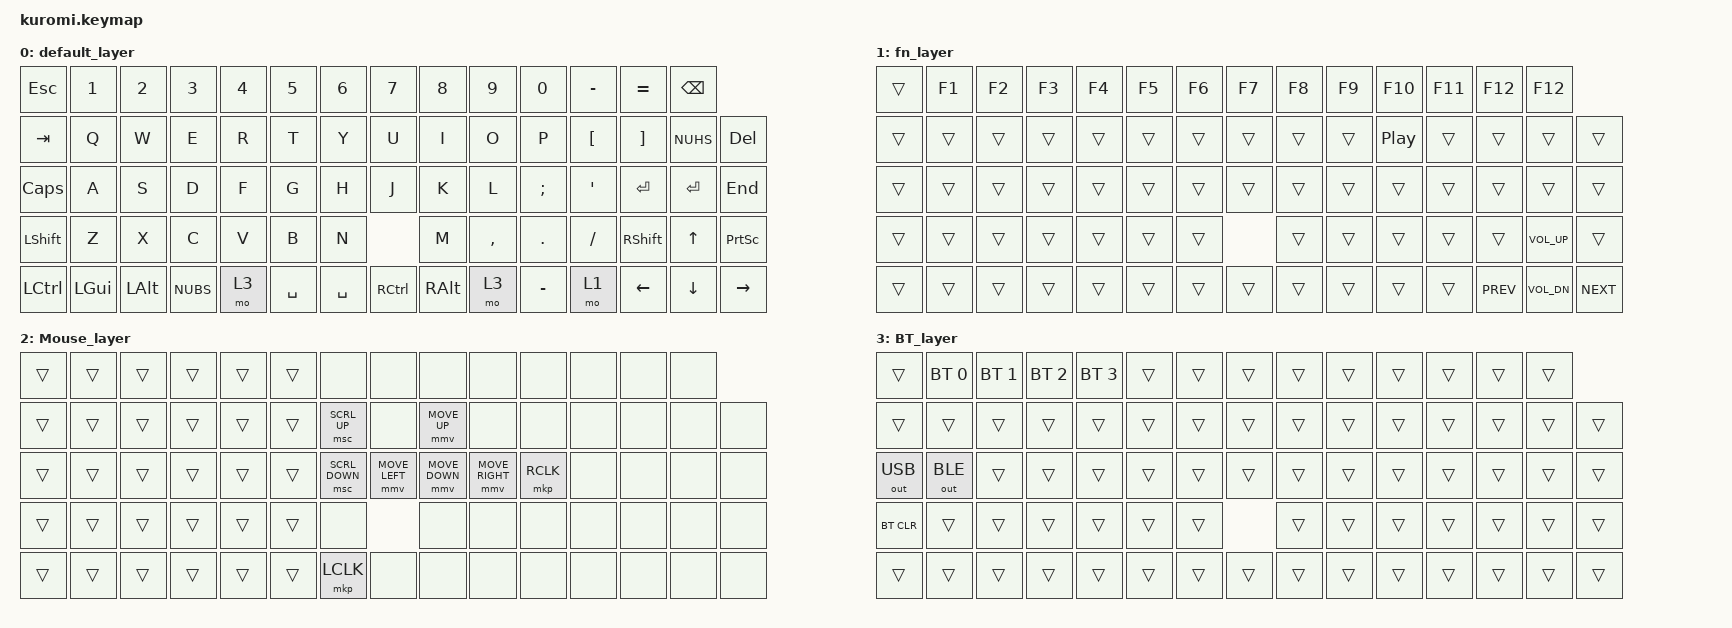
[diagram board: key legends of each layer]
/*
 * Copyright (c) 2022 The ZMK Contributors
 *
 * SPDX-License-Identifier: MIT
 */

#include <behaviors.dtsi>
#include <dt-bindings/zmk/keys.h>
#include <dt-bindings/zmk/bt.h>
#include <dt-bindings/zmk/outputs.h>
#include <dt-bindings/zmk/pointing.h>

/ {
    keymap {
        compatible = "zmk,keymap";

        default_layer {
            bindings = <
                &kp ESC     &kp N1      &kp N2      &kp N3      &kp N4      &kp N5               &kp N6            &kp N7   &kp N8       &kp N9       &kp N0      &kp MINUS   &kp EQUAL    &kp BSPC        
                &kp TAB     &kp Q       &kp W       &kp E       &kp R       &kp T                &kp Y             &kp U    &kp I        &kp O        &kp P       &kp LBKT    &kp RBKT     &kp NUHS  &kp DEL
                &kp CAPS    &kp A       &kp S       &kp D       &kp F       &kp G                &kp H             &kp J    &kp K        &kp L        &kp SEMI    &kp SQT     &kp ENTER    &kp ENTER  &kp END
                &kp LSHFT   &kp Z       &kp X       &kp C       &kp V       &kp B                &kp N             &kp M    &kp COMMA    &kp DOT      &kp SLASH         &kp RSHFT          &kp UP     &kp PSCRN  
                &kp LCTRL   &kp LGUI    &kp LALT    &kp NUBS      &mo 3       &kp SPACE        &kp SPACE           &kp RCTRL &kp RALT    &mo 3       &kp MINUS   &mo 1       &kp LEFT     &kp DOWN   &kp RIGHT
            >;
        };

        fn_layer {
            bindings = <
                &trans     &kp F1   &kp F2    &kp F3    &kp F4    &kp F5            &kp F6     &kp F7     &kp F8     &kp F9     &kp F10      &kp F11     &kp F12          &kp F12        
                &trans     &trans   &trans    &trans    &trans    &trans            &trans     &trans     &trans     &trans     &kp C_PP       &trans      &trans       &trans          &trans
                &trans     &trans   &trans    &trans    &trans    &trans            &trans     &trans     &trans     &trans     &trans       &trans      &trans       &trans          &trans
                &trans     &trans   &trans    &trans    &trans    &trans            &trans     &trans     &trans     &trans     &trans            &trans              &kp C_VOL_UP    &trans   
                &trans     &trans   &trans    &trans    &trans      &trans         &trans      &trans     &trans     &trans     &trans       &trans      &kp C_PREV   &kp C_VOL_DN    &kp C_NEXT
            >;
        };

        Mouse_layer {
            bindings = <
                &trans     &trans   &trans    &trans   &trans   &trans          &none           &none           &none            &none             &none      &none      &none       &none                   
                &trans     &trans   &trans    &trans   &trans   &trans          &msc SCRL_UP    &none           &mmv MOVE_UP     &none             &none      &none      &none  &none    &none
                &trans     &trans   &trans    &trans   &trans   &trans          &msc SCRL_DOWN	&mmv MOVE_LEFT  &mmv MOVE_DOWN   &mmv MOVE_RIGHT   &mkp RCLK  &none      &none  &none    &none
                &trans     &trans   &trans    &trans   &trans   &trans          &none           &none           &none            &none             &none          &none         &none    &none
                &trans     &trans   &trans    &trans   &trans   &trans          &mkp LCLK       &none           &none            &none             &none      &none      &none  &none    &none
            >;
        };

        BT_layer {
            bindings = <
                &trans        &bt BT_SEL 0   &bt BT_SEL 1   &bt BT_SEL 2   &bt BT_SEL 3   &trans         &trans   &trans   &trans   &trans   &trans   &trans   &trans        &trans        
                &trans        &trans         &trans         &trans         &trans         &trans         &trans   &trans   &trans   &trans   &trans   &trans   &trans   &trans     &trans
                &out OUT_USB  &out OUT_BLE   &trans         &trans         &trans         &trans         &trans   &trans   &trans   &trans   &trans   &trans   &trans   &trans     &trans
                &bt BT_CLR    &trans         &trans         &trans         &trans         &trans         &trans   &trans   &trans   &trans   &trans         &trans      &trans     &trans  
                &trans        &trans         &trans         &trans         &trans         &trans         &trans   &trans   &trans   &trans   &trans   &trans   &trans   &trans     &trans
            >;
        };
    };
};
